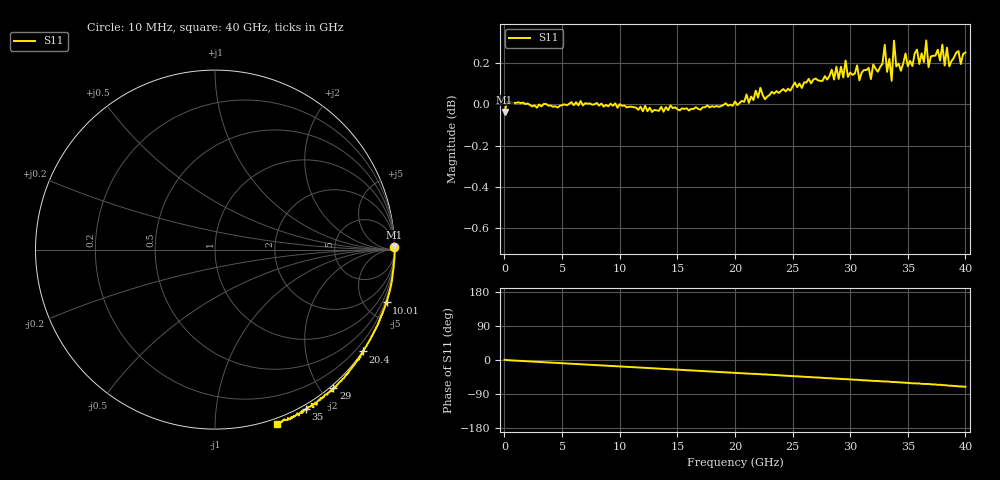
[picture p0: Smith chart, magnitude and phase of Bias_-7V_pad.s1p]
!Agilent Technologies,N5227A,US51270434,A.10.00.00
!Agilent N5227A: A.10.00.00
!Date: Wednesday, April 01, 2026 16:44:15
!Correction: S11(Full 1 Port(1))
!S1P File: Measurement: S11:
# Hz S  dB  R 50
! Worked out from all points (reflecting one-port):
!   201 points, 10 MHz to 40 GHz, reference 50 ohm
!   lowest |S11| = 0.0 dB at 10 MHz (marker M1), VSWR 470.74, Z = 2.27e+03 + j6.95e+03 ohm
!   phase of S11 starts at 1 deg and turns -71 deg over the sweep
!   S11 on the Smith chart (normalised r, x): 10 MHz: open; 10.01 GHz: -0.00, -6.65; 20.4 GHz: -0.00, -3.22; 29 GHz: -0.04, -2.17; 35 GHz: -0.04, -1.72; 40 GHz: -0.04, -1.41
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1e7  -0.04 0.7
6.0985e8  0.01 -1.1
5.00875e9  -0.00 -8.5
1.00075e10  0.00 -17.1
1.500625e10  -0.02 -25.5
2.0005e10  0.01 -33.9
2.04049e10  0.01 -34.6
2.500375e10  0.09 -42.4
2.900275e10  0.12 -49.5
3.00025e10  0.16 -51.2
3.24019e10  0.16 -55.5
3.300175e10  0.29 -56.8
3.32017e10  0.16 -56.7
3.36016e10  0.12 -57.9
3.380155e10  0.31 -58.0
3.500125e10  0.19 -60.3
3.540115e10  0.19 -61.7
3.6001e10  0.20 -61.8
3.620095e10  0.25 -63.0
3.660085e10  0.31 -63.2
3.68008e10  0.18 -63.4
3.72007e10  0.24 -64.8
3.740065e10  0.24 -64.4
3.76006e10  0.27 -65.6
3.84004e10  0.28 -66.9
3.860035e10  0.19 -68.1
3.88003e10  0.21 -67.7
4e10  0.25 -70.6
